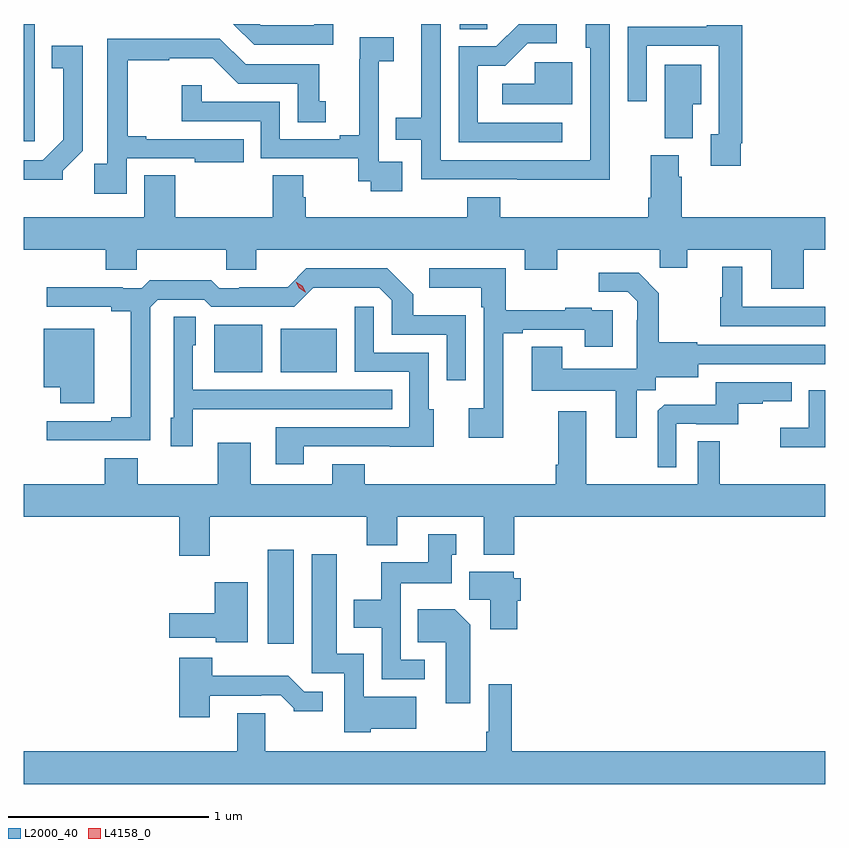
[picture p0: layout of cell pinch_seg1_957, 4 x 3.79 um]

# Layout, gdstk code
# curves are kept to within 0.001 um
import gdstk
lib = gdstk.Library(unit=1e-6, precision=1e-09)
def R(c, l, rs):  # rectangles x0, y0, x1, y1
    for r in rs: c.add(gdstk.rectangle(r[:2], r[2:], *l))
def P(c, l, *ps):  # polygons
    for p in ps: c.add(gdstk.Polygon(p, *l))
L2000_40 = (2000, 40)
L4158_0 = (4158, 0)

pinch_seg1_957 = lib.new_cell('pinch_seg1_957')
R(pinch_seg1_957, L2000_40, [(346.292,539.112,346.423,539.581), (346.025,540.467,346.264,540.703), (346.358,540.467,346.636,540.682), (347.249,542.176,347.388,542.203)])
P(pinch_seg1_957, L2000_40, [(347.761,541.71),(347.34,541.71),(347.34,541.995),(347.478,541.995),(347.589,542.106),(347.734,542.106),(347.734,542.203),(347.545,542.203),(347.433,542.091),(347.244,542.091),(347.244,541.614),(347.761,541.614)],
  [(345.13,541.892),(345.129,541.892),(345.129,542.203),(345.074,542.203),(345.074,541.617),(345.13,541.617)],
  [(346.62,542.203),(346.524,542.203),(346.524,542.196),(346.26,542.196),(346.253,542.203),(346.121,542.203),(346.224,542.1),(346.62,542.1)],
  [(347.999,541.73),(347.997,541.73),(347.997,542.203),(347.879,542.203),(347.879,542.085),(347.901,542.085),(347.901,541.524),(347.154,541.524),(347.154,542.203),(347.057,542.203),(347.057,541.735),(346.93,541.735),(346.93,541.626),(347.058,541.626),(347.058,541.428),(347.536,541.428),(347.536,541.427),(347.999,541.427)],
  [(348.652,541.609),(348.659,541.609),(348.659,542.197),(348.483,542.197),(348.483,542.19),(348.087,542.19),(348.087,541.818),(348.183,541.818),(348.183,542.094),(348.543,542.094),(348.543,541.653),(348.503,541.653),(348.503,541.497),(348.652,541.497)],
  [(346.963,541.515),(346.845,541.515),(346.845,541.819),(346.847,541.819),(346.847,542.017),(346.921,542.017),(346.921,542.138),(346.75,542.138),(346.75,542.027),(346.748,542.027),(346.748,541.649),(346.652,541.649),(346.652,541.629),(346.353,541.629),(346.353,541.815),(345.963,541.815),(345.963,541.897),(345.862,541.897),(345.862,541.719),(346.257,541.719),(346.257,541.533),(346.744,541.533),(346.744,541.419),(346.807,541.419),(346.807,541.368),(346.963,541.368)],
  [(345.588,541.533),(345.929,541.533),(345.929,541.514),(346.172,541.514),(346.172,541.629),(345.685,541.629),(345.685,541.642),(345.593,541.642),(345.593,542.022),(345.8,542.022),(345.8,542.033),(346.018,542.033),(346.146,541.905),(346.442,541.905),(346.442,541.714),(346.582,541.714),(346.582,541.818),(346.549,541.818),(346.549,542.001),(346.182,542.001),(346.053,542.13),(345.492,542.13),(345.492,541.507),(345.427,541.507),(345.427,541.356),(345.588,541.356)],
  [(345.27,541.471),(345.369,541.57),(345.369,542.095),(345.214,542.095),(345.214,541.982),(345.272,541.982),(345.272,541.625),(345.171,541.524),(345.074,541.524),(345.074,541.427),(345.27,541.427)],
  [(347.812,542.013),(347.625,542.013),(347.625,541.906),(347.463,541.906),(347.463,541.802),(347.812,541.802)],
  [(348.412,541.802),(348.454,541.802),(348.454,541.999),(348.272,541.999),(348.272,541.633),(348.412,541.633)],
  [(348.967,541.076),(349.074,541.076),(349.074,541.24),(348.356,541.24),(348.356,541.442),(348.343,541.442),(348.343,541.548),(348.203,541.548),(348.203,541.336),(348.191,541.336),(348.191,541.24),(347.453,541.24),(347.453,541.339),(347.288,541.339),(347.288,541.24),(346.481,541.24),(346.481,541.338),(346.468,541.338),(346.468,541.448),(346.316,541.448),(346.316,541.24),(345.83,541.24),(345.83,541.448),(345.677,541.448),(345.677,541.24),(345.074,541.24),(345.074,541.076),(345.484,541.076),(345.484,540.978),(345.639,540.978),(345.639,541.076),(346.084,541.076),(346.084,540.978),(346.234,540.978),(346.234,541.076),(347.573,541.076),(347.573,540.977),(347.737,540.977),(347.737,541.076),(348.247,541.076),(348.247,540.986),(348.385,540.986),(348.385,541.076),(348.803,541.076),(348.803,540.882),(348.967,540.882)],
  [(349.074,540.792),(348.658,540.792),(348.658,540.991),(348.56,540.991),(348.56,540.84),(348.549,540.84),(348.549,540.696),(349.074,540.696)],
  [(345.705,540.789),(345.744,540.828),(345.975,540.828),(346.011,540.792),(346.425,540.792),(346.52,540.887),(346.848,540.888),(346.911,540.825),(346.911,540.654),(347.184,540.654),(347.184,540.426),(347.28,540.426),(347.28,540.751),(347.019,540.751),(347.019,540.854),(346.888,540.984),(346.485,540.984),(346.391,540.89),(346.15,540.89),(346.15,540.885),(346.05,540.885),(346.011,540.925),(345.703,540.925),(345.663,540.885),(345.569,540.885),(345.569,540.89),(345.189,540.89),(345.189,540.792),(345.512,540.792),(345.512,540.77),(345.608,540.77),(345.608,540.242),(345.512,540.242),(345.512,540.222),(345.189,540.222),(345.189,540.126),(345.705,540.126)],
  [(347.467,540.66),(347.563,540.66),(347.563,540.678),(347.873,540.678),(347.873,540.594),(348.013,540.594),(348.013,540.774),(347.909,540.774),(347.909,540.787),(347.777,540.787),(347.777,540.776),(347.479,540.776),(347.479,540.984),(347.097,540.984),(347.097,540.887),(347.358,540.887),(347.358,540.791),(347.37,540.791),(347.37,540.286),(347.295,540.286),(347.295,540.138),(347.467,540.138)],
  [(348.133,540.376),(348.228,540.376),(348.228,540.44),(348.439,540.44),(348.439,540.507),(349.074,540.506),(349.074,540.603),(348.435,540.603),(348.435,540.616),(348.243,540.616),(348.243,540.861),(348.143,540.961),(347.943,540.961),(347.943,540.867),(348.087,540.867),(348.134,540.82),(348.134,540.725),(348.132,540.725),(348.132,540.484),(347.761,540.484),(347.761,540.593),(347.609,540.593),(347.609,540.374),(348.029,540.374),(348.029,540.138),(348.133,540.138)],
  [(346.471,540.096),(346.901,540.096),(346.901,540.095),(347.119,540.095),(347.119,540.282),(347.094,540.282),(347.094,540.564),(346.821,540.564),(346.821,540.793),(346.725,540.793),(346.725,540.468),(346.998,540.468),(346.998,540.192),(346.331,540.192),(346.331,540.006),(346.471,540.006)],
  [(345.918,540.281),(346.235,540.281),(346.235,540.282),(346.913,540.282),(346.913,540.378),(345.918,540.378),(345.918,540.6),(345.934,540.6),(345.934,540.743),(345.822,540.743),(345.822,540.24),(345.809,540.24),(345.809,540.096),(345.918,540.096)],
  [(345.427,540.682),(345.176,540.682),(345.176,540.392),(345.257,540.392),(345.257,540.312),(345.427,540.312)],
  [(348.33,540.21),(348.43,540.21),(348.43,540.207),(348.638,540.207),(348.638,540.309),(348.761,540.309),(348.761,540.32),(348.905,540.32),(348.905,540.417),(348.528,540.417),(348.528,540.305),(348.269,540.305),(348.237,540.273),(348.237,539.993),(348.33,539.993)],
  [(349.074,540.375),(348.99,540.375),(348.99,540.19),(348.849,540.19),(348.849,540.092),(349.074,540.092)],
  [(346.003,539.744),(346.787,539.744),(346.787,539.603),(346.939,539.603),(346.939,539.744),(347.369,539.744),(347.369,539.555),(347.522,539.555),(347.522,539.744),(349.074,539.744),(349.074,539.908),(348.547,539.908),(348.547,540.122),(348.438,540.122),(348.438,539.908),(347.881,539.908),(347.881,540.271),(347.741,540.271),(347.741,540.004),(347.729,540.004),(347.729,539.908),(346.777,539.908),(346.777,540.007),(346.613,540.007),(346.613,539.908),(346.207,539.908),(346.207,540.115),(346.043,540.115),(346.043,539.908),(345.643,539.908),(345.643,540.037),(345.479,540.037),(345.479,539.908),(345.074,539.908),(345.074,539.744),(345.851,539.744),(345.851,539.55),(346.003,539.55)],
  [(347.074,539.031),(346.956,539.031),(346.956,539.414),(347.209,539.414),(347.209,539.556),(347.233,539.556),(347.233,539.659),(347.093,539.659),(347.093,539.518),(346.858,539.518),(346.858,539.332),(346.721,539.332),(346.721,539.192),(346.86,539.192),(346.86,538.935),(347.074,538.935)],
  [(346.806,538.688),(347.032,538.688),(347.032,538.846),(346.77,538.846),(346.77,539.062),(346.636,539.062),(346.636,539.557),(346.511,539.557),(346.511,538.965),(346.674,538.965),(346.674,538.67),(346.806,538.67)],
  [(347.537,539.325),(347.555,539.325),(347.555,539.439),(347.52,539.439),(347.52,539.47),(347.297,539.47),(347.297,539.332),(347.402,539.332),(347.402,539.184),(347.537,539.184)],
  [(346.192,539.419),(346.028,539.419),(346.028,539.263),(345.801,539.263),(345.801,539.141),(346.032,539.141),(346.032,539.12),(346.192,539.12)],
  [(347.302,539.206),(347.224,539.284),(347.041,539.284),(347.041,539.12),(347.18,539.12),(347.18,538.815),(347.302,538.815)],
  [(346.003,538.851),(346.259,538.851),(346.259,538.854),(346.358,538.854),(346.422,538.79),(346.422,538.775),(346.567,538.775),(346.567,538.872),(346.473,538.872),(346.395,538.951),(346.016,538.951),(346.016,539.041),(345.851,539.041),(345.851,538.746),(346.003,538.746)],
  [(349.074,538.576),(347.51,538.576),(347.51,538.909),(347.394,538.909),(347.394,538.672),(347.382,538.672),(347.382,538.576),(346.279,538.576),(346.279,538.766),(346.139,538.766),(346.139,538.576),(345.074,538.576),(345.074,538.412),(349.074,538.412)])
P(pinch_seg1_957, L4158_0, [(346.48,540.864),(346.449,540.884),(346.432,540.918),(346.432,540.918),(346.433,540.918),(346.464,540.897),(346.481,540.864),(346.481,540.864)])

lib.write_gds('pinch_seg1_957.gds')
